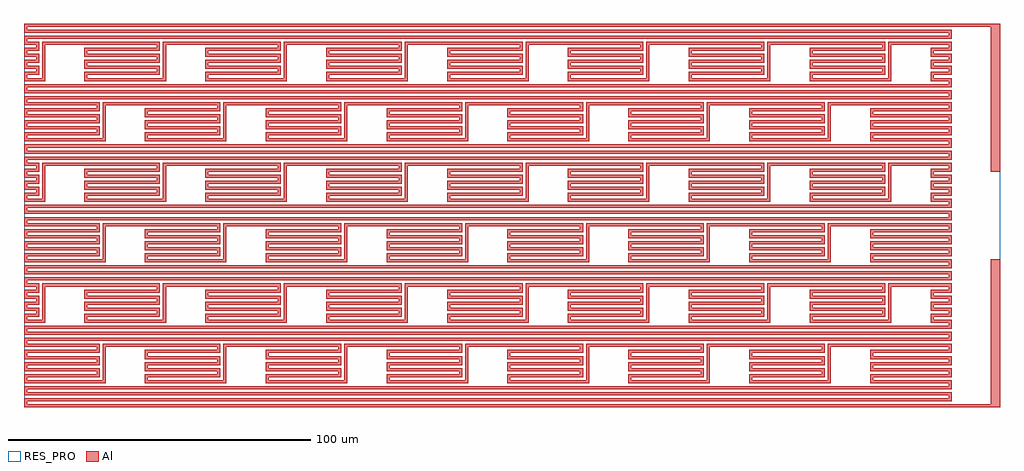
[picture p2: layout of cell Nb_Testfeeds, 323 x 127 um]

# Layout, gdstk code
import gdstk
lib = gdstk.Library(unit=1e-6, precision=1e-09)
def R(c, l, rs):  # rectangles x0, y0, x1, y1
    for r in rs: c.add(gdstk.rectangle(r[:2], r[2:], *l))
def P(c, l, *ps):  # polygons
    for p in ps: c.add(gdstk.Polygon(p, *l))
Al = (8, 0)
RES_PRO = (10, 0)

nb_testfeeds = lib.new_cell('Nb_Testfeeds')
R(nb_testfeeds, Al, [(43.518,-53.746,190.518,-52.746), (188.518,-53.746,206.518,-52.746), (203.518,-53.246,206.518,-4.746), (203.518,24.254,206.518,72.754), (23.518,72.254,190.518,73.254), (188.518,72.254,206.518,73.254)])
P(nb_testfeeds, Al, [(-115.482,-19.746),(-115.482,-20.746),(-111.482,-20.746),(-111.482,-23.746),(-115.482,-23.746),(-115.482,-24.746),(-110.482,-24.746),(-110.482,-19.746),(-109.482,-19.746),(-109.482,-25.746),(-116.482,-25.746),(-116.482,-22.746),(-112.482,-22.746),(-112.482,-21.746),(-116.482,-21.746),(-116.482,-19.746)],
  [(-95.482,-19.746),(-95.482,-20.746),(-71.482,-20.746),(-71.482,-23.746),(-95.482,-23.746),(-95.482,-24.746),(-70.482,-24.746),(-70.482,-19.746),(-69.482,-19.746),(-69.482,-25.746),(-96.482,-25.746),(-96.482,-22.746),(-72.482,-22.746),(-72.482,-21.746),(-96.482,-21.746),(-96.482,-19.746)],
  [(-55.482,-19.746),(-55.482,-20.746),(-31.482,-20.746),(-31.482,-23.746),(-55.482,-23.746),(-55.482,-24.746),(-30.482,-24.746),(-30.482,-19.746),(-29.482,-19.746),(-29.482,-25.746),(-56.482,-25.746),(-56.482,-22.746),(-32.482,-22.746),(-32.482,-21.746),(-56.482,-21.746),(-56.482,-19.746)],
  [(-15.482,-19.746),(-15.482,-20.746),(8.518,-20.746),(8.518,-23.746),(-15.482,-23.746),(-15.482,-24.746),(9.518,-24.746),(9.518,-19.746),(10.518,-19.746),(10.518,-25.746),(-16.482,-25.746),(-16.482,-22.746),(7.518,-22.746),(7.518,-21.746),(-16.482,-21.746),(-16.482,-19.746)],
  [(24.518,-19.746),(24.518,-20.746),(48.518,-20.746),(48.518,-23.746),(24.518,-23.746),(24.518,-24.746),(49.518,-24.746),(49.518,-19.746),(50.518,-19.746),(50.518,-25.746),(23.518,-25.746),(23.518,-22.746),(47.518,-22.746),(47.518,-21.746),(23.518,-21.746),(23.518,-19.746)],
  [(64.518,-19.746),(64.518,-20.746),(88.518,-20.746),(88.518,-23.746),(64.518,-23.746),(64.518,-24.746),(89.518,-24.746),(89.518,-19.746),(90.518,-19.746),(90.518,-25.746),(63.518,-25.746),(63.518,-22.746),(87.518,-22.746),(87.518,-21.746),(63.518,-21.746),(63.518,-19.746)],
  [(104.518,-19.746),(104.518,-20.746),(128.518,-20.746),(128.518,-23.746),(104.518,-23.746),(104.518,-24.746),(129.518,-24.746),(129.518,-19.746),(130.518,-19.746),(130.518,-25.746),(103.518,-25.746),(103.518,-22.746),(127.518,-22.746),(127.518,-21.746),(103.518,-21.746),(103.518,-19.746)],
  [(144.518,-19.746),(144.518,-20.746),(168.518,-20.746),(168.518,-23.746),(144.518,-23.746),(144.518,-24.746),(169.518,-24.746),(169.518,-19.746),(170.518,-19.746),(170.518,-25.746),(143.518,-25.746),(143.518,-22.746),(167.518,-22.746),(167.518,-21.746),(143.518,-21.746),(143.518,-19.746)],
  [(-110.482,-19.746),(-110.482,-12.746),(-71.482,-12.746),(-71.482,-15.746),(-95.482,-15.746),(-95.482,-16.746),(-71.482,-16.746),(-71.482,-19.746),(-96.482,-19.746),(-96.482,-18.746),(-72.482,-18.746),(-72.482,-17.746),(-96.482,-17.746),(-96.482,-14.746),(-72.482,-14.746),(-72.482,-13.746),(-109.482,-13.746),(-109.482,-19.746)],
  [(-70.482,-19.746),(-70.482,-12.746),(-31.482,-12.746),(-31.482,-15.746),(-55.482,-15.746),(-55.482,-16.746),(-31.482,-16.746),(-31.482,-19.746),(-56.482,-19.746),(-56.482,-18.746),(-32.482,-18.746),(-32.482,-17.746),(-56.482,-17.746),(-56.482,-14.746),(-32.482,-14.746),(-32.482,-13.746),(-69.482,-13.746),(-69.482,-19.746)],
  [(-30.482,-19.746),(-30.482,-12.746),(8.518,-12.746),(8.518,-15.746),(-15.482,-15.746),(-15.482,-16.746),(8.518,-16.746),(8.518,-19.746),(-16.482,-19.746),(-16.482,-18.746),(7.518,-18.746),(7.518,-17.746),(-16.482,-17.746),(-16.482,-14.746),(7.518,-14.746),(7.518,-13.746),(-29.482,-13.746),(-29.482,-19.746)],
  [(9.518,-19.746),(9.518,-12.746),(48.518,-12.746),(48.518,-15.746),(24.518,-15.746),(24.518,-16.746),(48.518,-16.746),(48.518,-19.746),(23.518,-19.746),(23.518,-18.746),(47.518,-18.746),(47.518,-17.746),(23.518,-17.746),(23.518,-14.746),(47.518,-14.746),(47.518,-13.746),(10.518,-13.746),(10.518,-19.746)],
  [(49.518,-19.746),(49.518,-12.746),(88.518,-12.746),(88.518,-15.746),(64.518,-15.746),(64.518,-16.746),(88.518,-16.746),(88.518,-19.746),(63.518,-19.746),(63.518,-18.746),(87.518,-18.746),(87.518,-17.746),(63.518,-17.746),(63.518,-14.746),(87.518,-14.746),(87.518,-13.746),(50.518,-13.746),(50.518,-19.746)],
  [(89.518,-19.746),(89.518,-12.746),(128.518,-12.746),(128.518,-15.746),(104.518,-15.746),(104.518,-16.746),(128.518,-16.746),(128.518,-19.746),(103.518,-19.746),(103.518,-18.746),(127.518,-18.746),(127.518,-17.746),(103.518,-17.746),(103.518,-14.746),(127.518,-14.746),(127.518,-13.746),(90.518,-13.746),(90.518,-19.746)],
  [(129.518,-19.746),(129.518,-12.746),(168.518,-12.746),(168.518,-15.746),(144.518,-15.746),(144.518,-16.746),(168.518,-16.746),(168.518,-19.746),(143.518,-19.746),(143.518,-18.746),(167.518,-18.746),(167.518,-17.746),(143.518,-17.746),(143.518,-14.746),(167.518,-14.746),(167.518,-13.746),(130.518,-13.746),(130.518,-19.746)],
  [(169.518,-19.746),(169.518,-12.746),(190.518,-12.746),(190.518,-15.746),(184.518,-15.746),(184.518,-16.746),(190.518,-16.746),(190.518,-19.746),(183.518,-19.746),(183.518,-18.746),(189.518,-18.746),(189.518,-17.746),(183.518,-17.746),(183.518,-14.746),(189.518,-14.746),(189.518,-13.746),(170.518,-13.746),(170.518,-19.746)],
  [(-91.482,41.254),(-91.482,40.254),(-115.482,40.254),(-115.482,39.254),(-91.482,39.254),(-91.482,36.254),(-115.482,36.254),(-115.482,35.254),(-90.482,35.254),(-90.482,41.254),(-89.482,41.254),(-89.482,34.254),(-116.482,34.254),(-116.482,37.254),(-92.482,37.254),(-92.482,38.254),(-116.482,38.254),(-116.482,41.254)],
  [(-51.482,41.254),(-51.482,40.254),(-75.482,40.254),(-75.482,39.254),(-51.482,39.254),(-51.482,36.254),(-75.482,36.254),(-75.482,35.254),(-50.482,35.254),(-50.482,41.254),(-49.482,41.254),(-49.482,34.254),(-76.482,34.254),(-76.482,37.254),(-52.482,37.254),(-52.482,38.254),(-76.482,38.254),(-76.482,41.254)],
  [(-11.482,41.254),(-11.482,40.254),(-35.482,40.254),(-35.482,39.254),(-11.482,39.254),(-11.482,36.254),(-35.482,36.254),(-35.482,35.254),(-10.482,35.254),(-10.482,41.254),(-9.482,41.254),(-9.482,34.254),(-36.482,34.254),(-36.482,37.254),(-12.482,37.254),(-12.482,38.254),(-36.482,38.254),(-36.482,41.254)],
  [(28.518,41.254),(28.518,40.254),(4.518,40.254),(4.518,39.254),(28.518,39.254),(28.518,36.254),(4.518,36.254),(4.518,35.254),(29.518,35.254),(29.518,41.254),(30.518,41.254),(30.518,34.254),(3.518,34.254),(3.518,37.254),(27.518,37.254),(27.518,38.254),(3.518,38.254),(3.518,41.254)],
  [(68.518,41.254),(68.518,40.254),(44.518,40.254),(44.518,39.254),(68.518,39.254),(68.518,36.254),(44.518,36.254),(44.518,35.254),(69.518,35.254),(69.518,41.254),(70.518,41.254),(70.518,34.254),(43.518,34.254),(43.518,37.254),(67.518,37.254),(67.518,38.254),(43.518,38.254),(43.518,41.254)],
  [(108.518,41.254),(108.518,40.254),(84.518,40.254),(84.518,39.254),(108.518,39.254),(108.518,36.254),(84.518,36.254),(84.518,35.254),(109.518,35.254),(109.518,41.254),(110.518,41.254),(110.518,34.254),(83.518,34.254),(83.518,37.254),(107.518,37.254),(107.518,38.254),(83.518,38.254),(83.518,41.254)],
  [(148.518,41.254),(148.518,40.254),(124.518,40.254),(124.518,39.254),(148.518,39.254),(148.518,36.254),(124.518,36.254),(124.518,35.254),(149.518,35.254),(149.518,41.254),(150.518,41.254),(150.518,34.254),(123.518,34.254),(123.518,37.254),(147.518,37.254),(147.518,38.254),(123.518,38.254),(123.518,41.254)],
  [(-90.482,41.254),(-90.482,47.254),(-51.482,47.254),(-51.482,44.254),(-75.482,44.254),(-75.482,43.254),(-51.482,43.254),(-51.482,41.254),(-52.482,41.254),(-52.482,42.254),(-76.482,42.254),(-76.482,45.254),(-52.482,45.254),(-52.482,46.254),(-89.482,46.254),(-89.482,41.254)],
  [(-50.482,41.254),(-50.482,47.254),(-11.482,47.254),(-11.482,44.254),(-35.482,44.254),(-35.482,43.254),(-11.482,43.254),(-11.482,41.254),(-12.482,41.254),(-12.482,42.254),(-36.482,42.254),(-36.482,45.254),(-12.482,45.254),(-12.482,46.254),(-49.482,46.254),(-49.482,41.254)],
  [(-10.482,41.254),(-10.482,47.254),(28.518,47.254),(28.518,44.254),(4.518,44.254),(4.518,43.254),(28.518,43.254),(28.518,41.254),(27.518,41.254),(27.518,42.254),(3.518,42.254),(3.518,45.254),(27.518,45.254),(27.518,46.254),(-9.482,46.254),(-9.482,41.254)],
  [(29.518,41.254),(29.518,47.254),(68.518,47.254),(68.518,44.254),(44.518,44.254),(44.518,43.254),(68.518,43.254),(68.518,41.254),(67.518,41.254),(67.518,42.254),(43.518,42.254),(43.518,45.254),(67.518,45.254),(67.518,46.254),(30.518,46.254),(30.518,41.254)],
  [(69.518,41.254),(69.518,47.254),(108.518,47.254),(108.518,44.254),(84.518,44.254),(84.518,43.254),(108.518,43.254),(108.518,41.254),(107.518,41.254),(107.518,42.254),(83.518,42.254),(83.518,45.254),(107.518,45.254),(107.518,46.254),(70.518,46.254),(70.518,41.254)],
  [(109.518,41.254),(109.518,47.254),(148.518,47.254),(148.518,44.254),(124.518,44.254),(124.518,43.254),(148.518,43.254),(148.518,41.254),(147.518,41.254),(147.518,42.254),(123.518,42.254),(123.518,45.254),(147.518,45.254),(147.518,46.254),(110.518,46.254),(110.518,41.254)],
  [(149.518,41.254),(149.518,47.254),(190.518,47.254),(190.518,44.254),(164.518,44.254),(164.518,43.254),(190.518,43.254),(190.518,41.254),(189.518,41.254),(189.518,42.254),(163.518,42.254),(163.518,45.254),(189.518,45.254),(189.518,46.254),(150.518,46.254),(150.518,41.254)],
  [(43.518,-53.746),(-116.482,-53.746),(-116.482,-50.746),(43.518,-50.746),(43.518,-51.746),(-115.482,-51.746),(-115.482,-52.746),(43.518,-52.746)],
  [(43.518,-49.746),(-116.482,-49.746),(-116.482,-46.746),(43.518,-46.746),(43.518,-47.746),(-115.482,-47.746),(-115.482,-48.746),(43.518,-48.746)],
  [(43.518,-33.746),(30.518,-33.746),(30.518,-45.746),(3.518,-45.746),(3.518,-42.746),(27.518,-42.746),(27.518,-41.746),(3.518,-41.746),(3.518,-38.746),(27.518,-38.746),(27.518,-37.746),(3.518,-37.746),(3.518,-34.746),(27.518,-34.746),(27.518,-33.746),(-9.482,-33.746),(-9.482,-45.746),(-36.482,-45.746),(-36.482,-42.746),(-12.482,-42.746),(-12.482,-41.746),(-36.482,-41.746),(-36.482,-38.746),(-12.482,-38.746),(-12.482,-37.746),(-36.482,-37.746),(-36.482,-34.746),(-12.482,-34.746),(-12.482,-33.746),(-49.482,-33.746),(-49.482,-45.746),(-76.482,-45.746),(-76.482,-42.746),(-52.482,-42.746),(-52.482,-41.746),(-76.482,-41.746),(-76.482,-38.746),(-52.482,-38.746),(-52.482,-37.746),(-76.482,-37.746),(-76.482,-34.746),(-52.482,-34.746),(-52.482,-33.746),(-89.482,-33.746),(-89.482,-45.746),(-116.482,-45.746),(-116.482,-42.746),(-92.482,-42.746),(-92.482,-41.746),(-116.482,-41.746),(-116.482,-38.746),(-92.482,-38.746),(-92.482,-37.746),(-116.482,-37.746),(-116.482,-34.746),(-92.482,-34.746),(-92.482,-33.746),(-116.482,-33.746),(-116.482,-30.746),(43.518,-30.746),(43.518,-31.746),(-115.482,-31.746),(-115.482,-32.746),(-91.482,-32.746),(-91.482,-35.746),(-115.482,-35.746),(-115.482,-36.746),(-91.482,-36.746),(-91.482,-39.746),(-115.482,-39.746),(-115.482,-40.746),(-91.482,-40.746),(-91.482,-43.746),(-115.482,-43.746),(-115.482,-44.746),(-90.482,-44.746),(-90.482,-32.746),(-51.482,-32.746),(-51.482,-35.746),(-75.482,-35.746),(-75.482,-36.746),(-51.482,-36.746),(-51.482,-39.746),(-75.482,-39.746),(-75.482,-40.746),(-51.482,-40.746),(-51.482,-43.746),(-75.482,-43.746),(-75.482,-44.746),(-50.482,-44.746),(-50.482,-32.746),(-11.482,-32.746),(-11.482,-35.746),(-35.482,-35.746),(-35.482,-36.746),(-11.482,-36.746),(-11.482,-39.746),(-35.482,-39.746),(-35.482,-40.746),(-11.482,-40.746),(-11.482,-43.746),(-35.482,-43.746),(-35.482,-44.746),(-10.482,-44.746),(-10.482,-32.746),(28.518,-32.746),(28.518,-35.746),(4.518,-35.746),(4.518,-36.746),(28.518,-36.746),(28.518,-39.746),(4.518,-39.746),(4.518,-40.746),(28.518,-40.746),(28.518,-43.746),(4.518,-43.746),(4.518,-44.746),(29.518,-44.746),(29.518,-32.746),(43.518,-32.746)],
  [(43.518,-29.746),(-116.482,-29.746),(-116.482,-26.746),(43.518,-26.746),(43.518,-27.746),(-115.482,-27.746),(-115.482,-28.746),(43.518,-28.746)],
  [(43.518,-50.746),(189.518,-50.746),(189.518,-49.746),(43.518,-49.746),(43.518,-48.746),(190.518,-48.746),(190.518,-51.746),(43.518,-51.746)],
  [(43.518,-46.746),(189.518,-46.746),(189.518,-45.746),(163.518,-45.746),(163.518,-42.746),(189.518,-42.746),(189.518,-41.746),(163.518,-41.746),(163.518,-38.746),(189.518,-38.746),(189.518,-37.746),(163.518,-37.746),(163.518,-34.746),(189.518,-34.746),(189.518,-33.746),(150.518,-33.746),(150.518,-45.746),(123.518,-45.746),(123.518,-42.746),(147.518,-42.746),(147.518,-41.746),(123.518,-41.746),(123.518,-38.746),(147.518,-38.746),(147.518,-37.746),(123.518,-37.746),(123.518,-34.746),(147.518,-34.746),(147.518,-33.746),(110.518,-33.746),(110.518,-45.746),(83.518,-45.746),(83.518,-42.746),(107.518,-42.746),(107.518,-41.746),(83.518,-41.746),(83.518,-38.746),(107.518,-38.746),(107.518,-37.746),(83.518,-37.746),(83.518,-34.746),(107.518,-34.746),(107.518,-33.746),(70.518,-33.746),(70.518,-45.746),(43.518,-45.746),(43.518,-42.746),(67.518,-42.746),(67.518,-41.746),(43.518,-41.746),(43.518,-38.746),(67.518,-38.746),(67.518,-37.746),(43.518,-37.746),(43.518,-34.746),(67.518,-34.746),(67.518,-33.746),(43.518,-33.746),(43.518,-32.746),(68.518,-32.746),(68.518,-35.746),(44.518,-35.746),(44.518,-36.746),(68.518,-36.746),(68.518,-39.746),(44.518,-39.746),(44.518,-40.746),(68.518,-40.746),(68.518,-43.746),(44.518,-43.746),(44.518,-44.746),(69.518,-44.746),(69.518,-32.746),(108.518,-32.746),(108.518,-35.746),(84.518,-35.746),(84.518,-36.746),(108.518,-36.746),(108.518,-39.746),(84.518,-39.746),(84.518,-40.746),(108.518,-40.746),(108.518,-43.746),(84.518,-43.746),(84.518,-44.746),(109.518,-44.746),(109.518,-32.746),(148.518,-32.746),(148.518,-35.746),(124.518,-35.746),(124.518,-36.746),(148.518,-36.746),(148.518,-39.746),(124.518,-39.746),(124.518,-40.746),(148.518,-40.746),(148.518,-43.746),(124.518,-43.746),(124.518,-44.746),(149.518,-44.746),(149.518,-32.746),(190.518,-32.746),(190.518,-35.746),(164.518,-35.746),(164.518,-36.746),(190.518,-36.746),(190.518,-39.746),(164.518,-39.746),(164.518,-40.746),(190.518,-40.746),(190.518,-43.746),(164.518,-43.746),(164.518,-44.746),(190.518,-44.746),(190.518,-47.746),(43.518,-47.746)],
  [(43.518,-30.746),(189.518,-30.746),(189.518,-29.746),(43.518,-29.746),(43.518,-28.746),(190.518,-28.746),(190.518,-31.746),(43.518,-31.746)],
  [(43.518,-26.746),(189.518,-26.746),(189.518,-25.746),(183.518,-25.746),(183.518,-22.746),(189.518,-22.746),(189.518,-21.746),(183.518,-21.746),(183.518,-19.746),(184.518,-19.746),(184.518,-20.746),(190.518,-20.746),(190.518,-23.746),(184.518,-23.746),(184.518,-24.746),(190.518,-24.746),(190.518,-27.746),(43.518,-27.746)],
  [(28.518,-11.746),(-115.482,-11.746),(-115.482,-12.746),(-111.482,-12.746),(-111.482,-15.746),(-115.482,-15.746),(-115.482,-16.746),(-111.482,-16.746),(-111.482,-19.746),(-116.482,-19.746),(-116.482,-18.746),(-112.482,-18.746),(-112.482,-17.746),(-116.482,-17.746),(-116.482,-14.746),(-112.482,-14.746),(-112.482,-13.746),(-116.482,-13.746),(-116.482,-10.746),(28.518,-10.746)],
  [(28.518,-9.746),(-116.482,-9.746),(-116.482,-6.746),(28.518,-6.746),(28.518,-7.746),(-115.482,-7.746),(-115.482,-8.746),(28.518,-8.746)],
  [(28.518,-5.746),(3.518,-5.746),(3.518,-2.746),(27.518,-2.746),(27.518,-1.746),(3.518,-1.746),(3.518,1.254),(27.518,1.254),(27.518,2.254),(3.518,2.254),(3.518,5.254),(27.518,5.254),(27.518,6.254),(-9.482,6.254),(-9.482,-5.746),(-36.482,-5.746),(-36.482,-2.746),(-12.482,-2.746),(-12.482,-1.746),(-36.482,-1.746),(-36.482,1.254),(-12.482,1.254),(-12.482,2.254),(-36.482,2.254),(-36.482,5.254),(-12.482,5.254),(-12.482,6.254),(-49.482,6.254),(-49.482,-5.746),(-76.482,-5.746),(-76.482,-2.746),(-52.482,-2.746),(-52.482,-1.746),(-76.482,-1.746),(-76.482,1.254),(-52.482,1.254),(-52.482,2.254),(-76.482,2.254),(-76.482,5.254),(-52.482,5.254),(-52.482,6.254),(-89.482,6.254),(-89.482,-5.746),(-116.482,-5.746),(-116.482,-2.746),(-92.482,-2.746),(-92.482,-1.746),(-116.482,-1.746),(-116.482,1.254),(-92.482,1.254),(-92.482,2.254),(-116.482,2.254),(-116.482,5.254),(-92.482,5.254),(-92.482,6.254),(-116.482,6.254),(-116.482,9.254),(28.518,9.254),(28.518,8.254),(-115.482,8.254),(-115.482,7.254),(-91.482,7.254),(-91.482,4.254),(-115.482,4.254),(-115.482,3.254),(-91.482,3.254),(-91.482,0.254),(-115.482,0.254),(-115.482,-0.746),(-91.482,-0.746),(-91.482,-3.746),(-115.482,-3.746),(-115.482,-4.746),(-90.482,-4.746),(-90.482,7.254),(-51.482,7.254),(-51.482,4.254),(-75.482,4.254),(-75.482,3.254),(-51.482,3.254),(-51.482,0.254),(-75.482,0.254),(-75.482,-0.746),(-51.482,-0.746),(-51.482,-3.746),(-75.482,-3.746),(-75.482,-4.746),(-50.482,-4.746),(-50.482,7.254),(-11.482,7.254),(-11.482,4.254),(-35.482,4.254),(-35.482,3.254),(-11.482,3.254),(-11.482,0.254),(-35.482,0.254),(-35.482,-0.746),(-11.482,-0.746),(-11.482,-3.746),(-35.482,-3.746),(-35.482,-4.746),(-10.482,-4.746),(-10.482,7.254),(28.518,7.254),(28.518,4.254),(4.518,4.254),(4.518,3.254),(28.518,3.254),(28.518,0.254),(4.518,0.254),(4.518,-0.746),(28.518,-0.746),(28.518,-3.746),(4.518,-3.746),(4.518,-4.746),(28.518,-4.746)],
  [(28.518,10.254),(-116.482,10.254),(-116.482,13.254),(28.518,13.254),(28.518,12.254),(-115.482,12.254),(-115.482,11.254),(28.518,11.254)],
  [(28.518,-10.746),(189.518,-10.746),(189.518,-9.746),(28.518,-9.746),(28.518,-8.746),(190.518,-8.746),(190.518,-11.746),(28.518,-11.746)],
  [(28.518,-6.746),(189.518,-6.746),(189.518,-5.746),(163.518,-5.746),(163.518,-2.746),(189.518,-2.746),(189.518,-1.746),(163.518,-1.746),(163.518,1.254),(189.518,1.254),(189.518,2.254),(163.518,2.254),(163.518,5.254),(189.518,5.254),(189.518,6.254),(150.518,6.254),(150.518,-5.746),(123.518,-5.746),(123.518,-2.746),(147.518,-2.746),(147.518,-1.746),(123.518,-1.746),(123.518,1.254),(147.518,1.254),(147.518,2.254),(123.518,2.254),(123.518,5.254),(147.518,5.254),(147.518,6.254),(110.518,6.254),(110.518,-5.746),(83.518,-5.746),(83.518,-2.746),(107.518,-2.746),(107.518,-1.746),(83.518,-1.746),(83.518,1.254),(107.518,1.254),(107.518,2.254),(83.518,2.254),(83.518,5.254),(107.518,5.254),(107.518,6.254),(70.518,6.254),(70.518,-5.746),(43.518,-5.746),(43.518,-2.746),(67.518,-2.746),(67.518,-1.746),(43.518,-1.746),(43.518,1.254),(67.518,1.254),(67.518,2.254),(43.518,2.254),(43.518,5.254),(67.518,5.254),(67.518,6.254),(30.518,6.254),(30.518,-5.746),(28.518,-5.746),(28.518,-4.746),(29.518,-4.746),(29.518,7.254),(68.518,7.254),(68.518,4.254),(44.518,4.254),(44.518,3.254),(68.518,3.254),(68.518,0.254),(44.518,0.254),(44.518,-0.746),(68.518,-0.746),(68.518,-3.746),(44.518,-3.746),(44.518,-4.746),(69.518,-4.746),(69.518,7.254),(108.518,7.254),(108.518,4.254),(84.518,4.254),(84.518,3.254),(108.518,3.254),(108.518,0.254),(84.518,0.254),(84.518,-0.746),(108.518,-0.746),(108.518,-3.746),(84.518,-3.746),(84.518,-4.746),(109.518,-4.746),(109.518,7.254),(148.518,7.254),(148.518,4.254),(124.518,4.254),(124.518,3.254),(148.518,3.254),(148.518,0.254),(124.518,0.254),(124.518,-0.746),(148.518,-0.746),(148.518,-3.746),(124.518,-3.746),(124.518,-4.746),(149.518,-4.746),(149.518,7.254),(190.518,7.254),(190.518,4.254),(164.518,4.254),(164.518,3.254),(190.518,3.254),(190.518,0.254),(164.518,0.254),(164.518,-0.746),(190.518,-0.746),(190.518,-3.746),(164.518,-3.746),(164.518,-4.746),(190.518,-4.746),(190.518,-7.746),(28.518,-7.746)],
  [(28.518,9.254),(189.518,9.254),(189.518,10.254),(28.518,10.254),(28.518,11.254),(190.518,11.254),(190.518,8.254),(28.518,8.254)],
  [(28.518,13.254),(189.518,13.254),(189.518,14.254),(190.518,14.254),(190.518,12.254),(28.518,12.254)],
  [(48.518,14.254),(23.518,14.254),(23.518,17.254),(47.518,17.254),(47.518,18.254),(23.518,18.254),(23.518,21.254),(47.518,21.254),(47.518,22.254),(23.518,22.254),(23.518,25.254),(47.518,25.254),(47.518,26.254),(10.518,26.254),(10.518,14.254),(-16.482,14.254),(-16.482,17.254),(7.518,17.254),(7.518,18.254),(-16.482,18.254),(-16.482,21.254),(7.518,21.254),(7.518,22.254),(-16.482,22.254),(-16.482,25.254),(7.518,25.254),(7.518,26.254),(-29.482,26.254),(-29.482,14.254),(-56.482,14.254),(-56.482,17.254),(-32.482,17.254),(-32.482,18.254),(-56.482,18.254),(-56.482,21.254),(-32.482,21.254),(-32.482,22.254),(-56.482,22.254),(-56.482,25.254),(-32.482,25.254),(-32.482,26.254),(-69.482,26.254),(-69.482,14.254),(-96.482,14.254),(-96.482,17.254),(-72.482,17.254),(-72.482,18.254),(-96.482,18.254),(-96.482,21.254),(-72.482,21.254),(-72.482,22.254),(-96.482,22.254),(-96.482,25.254),(-72.482,25.254),(-72.482,26.254),(-109.482,26.254),(-109.482,14.254),(-116.482,14.254),(-116.482,17.254),(-112.482,17.254),(-112.482,18.254),(-116.482,18.254),(-116.482,21.254),(-112.482,21.254),(-112.482,22.254),(-116.482,22.254),(-116.482,25.254),(-112.482,25.254),(-112.482,26.254),(-116.482,26.254),(-116.482,29.254),(48.518,29.254),(48.518,28.254),(-115.482,28.254),(-115.482,27.254),(-111.482,27.254),(-111.482,24.254),(-115.482,24.254),(-115.482,23.254),(-111.482,23.254),(-111.482,20.254),(-115.482,20.254),(-115.482,19.254),(-111.482,19.254),(-111.482,16.254),(-115.482,16.254),(-115.482,15.254),(-110.482,15.254),(-110.482,27.254),(-71.482,27.254),(-71.482,24.254),(-95.482,24.254),(-95.482,23.254),(-71.482,23.254),(-71.482,20.254),(-95.482,20.254),(-95.482,19.254),(-71.482,19.254),(-71.482,16.254),(-95.482,16.254),(-95.482,15.254),(-70.482,15.254),(-70.482,27.254),(-31.482,27.254),(-31.482,24.254),(-55.482,24.254),(-55.482,23.254),(-31.482,23.254),(-31.482,20.254),(-55.482,20.254),(-55.482,19.254),(-31.482,19.254),(-31.482,16.254),(-55.482,16.254),(-55.482,15.254),(-30.482,15.254),(-30.482,27.254),(8.518,27.254),(8.518,24.254),(-15.482,24.254),(-15.482,23.254),(8.518,23.254),(8.518,20.254),(-15.482,20.254),(-15.482,19.254),(8.518,19.254),(8.518,16.254),(-15.482,16.254),(-15.482,15.254),(9.518,15.254),(9.518,27.254),(48.518,27.254),(48.518,24.254),(24.518,24.254),(24.518,23.254),(48.518,23.254),(48.518,20.254),(24.518,20.254),(24.518,19.254),(48.518,19.254),(48.518,16.254),(24.518,16.254),(24.518,15.254),(48.518,15.254)],
  [(48.518,30.254),(-116.482,30.254),(-116.482,33.254),(48.518,33.254),(48.518,32.254),(-115.482,32.254),(-115.482,31.254),(48.518,31.254)],
  [(48.518,15.254),(49.518,15.254),(49.518,27.254),(88.518,27.254),(88.518,24.254),(64.518,24.254),(64.518,23.254),(88.518,23.254),(88.518,20.254),(64.518,20.254),(64.518,19.254),(88.518,19.254),(88.518,16.254),(64.518,16.254),(64.518,15.254),(89.518,15.254),(89.518,27.254),(128.518,27.254),(128.518,24.254),(104.518,24.254),(104.518,23.254),(128.518,23.254),(128.518,20.254),(104.518,20.254),(104.518,19.254),(128.518,19.254),(128.518,16.254),(104.518,16.254),(104.518,15.254),(129.518,15.254),(129.518,27.254),(168.518,27.254),(168.518,24.254),(144.518,24.254),(144.518,23.254),(168.518,23.254),(168.518,20.254),(144.518,20.254),(144.518,19.254),(168.518,19.254),(168.518,16.254),(144.518,16.254),(144.518,15.254),(169.518,15.254),(169.518,27.254),(190.518,27.254),(190.518,24.254),(184.518,24.254),(184.518,23.254),(190.518,23.254),(190.518,20.254),(184.518,20.254),(184.518,19.254),(190.518,19.254),(190.518,16.254),(184.518,16.254),(184.518,15.254),(190.518,15.254),(190.518,14.254),(183.518,14.254),(183.518,17.254),(189.518,17.254),(189.518,18.254),(183.518,18.254),(183.518,21.254),(189.518,21.254),(189.518,22.254),(183.518,22.254),(183.518,25.254),(189.518,25.254),(189.518,26.254),(170.518,26.254),(170.518,14.254),(143.518,14.254),(143.518,17.254),(167.518,17.254),(167.518,18.254),(143.518,18.254),(143.518,21.254),(167.518,21.254),(167.518,22.254),(143.518,22.254),(143.518,25.254),(167.518,25.254),(167.518,26.254),(130.518,26.254),(130.518,14.254),(103.518,14.254),(103.518,17.254),(127.518,17.254),(127.518,18.254),(103.518,18.254),(103.518,21.254),(127.518,21.254),(127.518,22.254),(103.518,22.254),(103.518,25.254),(127.518,25.254),(127.518,26.254),(90.518,26.254),(90.518,14.254),(63.518,14.254),(63.518,17.254),(87.518,17.254),(87.518,18.254),(63.518,18.254),(63.518,21.254),(87.518,21.254),(87.518,22.254),(63.518,22.254),(63.518,25.254),(87.518,25.254),(87.518,26.254),(50.518,26.254),(50.518,14.254),(48.518,14.254)],
  [(48.518,29.254),(189.518,29.254),(189.518,30.254),(48.518,30.254),(48.518,31.254),(190.518,31.254),(190.518,28.254),(48.518,28.254)],
  [(48.518,33.254),(189.518,33.254),(189.518,34.254),(163.518,34.254),(163.518,37.254),(189.518,37.254),(189.518,38.254),(163.518,38.254),(163.518,41.254),(190.518,41.254),(190.518,40.254),(164.518,40.254),(164.518,39.254),(190.518,39.254),(190.518,36.254),(164.518,36.254),(164.518,35.254),(190.518,35.254),(190.518,32.254),(48.518,32.254)],
  [(23.518,48.254),(-115.482,48.254),(-115.482,47.254),(-91.482,47.254),(-91.482,44.254),(-115.482,44.254),(-115.482,43.254),(-91.482,43.254),(-91.482,41.254),(-92.482,41.254),(-92.482,42.254),(-116.482,42.254),(-116.482,45.254),(-92.482,45.254),(-92.482,46.254),(-116.482,46.254),(-116.482,49.254),(23.518,49.254)],
  [(23.518,50.254),(-116.482,50.254),(-116.482,53.254),(23.518,53.254),(23.518,52.254),(-115.482,52.254),(-115.482,51.254),(23.518,51.254)],
  [(23.518,66.254),(10.518,66.254),(10.518,54.254),(-16.482,54.254),(-16.482,57.254),(7.518,57.254),(7.518,58.254),(-16.482,58.254),(-16.482,61.254),(7.518,61.254),(7.518,62.254),(-16.482,62.254),(-16.482,65.254),(7.518,65.254),(7.518,66.254),(-29.482,66.254),(-29.482,54.254),(-56.482,54.254),(-56.482,57.254),(-32.482,57.254),(-32.482,58.254),(-56.482,58.254),(-56.482,61.254),(-32.482,61.254),(-32.482,62.254),(-56.482,62.254),(-56.482,65.254),(-32.482,65.254),(-32.482,66.254),(-69.482,66.254),(-69.482,54.254),(-96.482,54.254),(-96.482,57.254),(-72.482,57.254),(-72.482,58.254),(-96.482,58.254),(-96.482,61.254),(-72.482,61.254),(-72.482,62.254),(-96.482,62.254),(-96.482,65.254),(-72.482,65.254),(-72.482,66.254),(-109.482,66.254),(-109.482,54.254),(-116.482,54.254),(-116.482,57.254),(-112.482,57.254),(-112.482,58.254),(-116.482,58.254),(-116.482,61.254),(-112.482,61.254),(-112.482,62.254),(-116.482,62.254),(-116.482,65.254),(-112.482,65.254),(-112.482,66.254),(-116.482,66.254),(-116.482,69.254),(23.518,69.254),(23.518,68.254),(-115.482,68.254),(-115.482,67.254),(-111.482,67.254),(-111.482,64.254),(-115.482,64.254),(-115.482,63.254),(-111.482,63.254),(-111.482,60.254),(-115.482,60.254),(-115.482,59.254),(-111.482,59.254),(-111.482,56.254),(-115.482,56.254),(-115.482,55.254),(-110.482,55.254),(-110.482,67.254),(-71.482,67.254),(-71.482,64.254),(-95.482,64.254),(-95.482,63.254),(-71.482,63.254),(-71.482,60.254),(-95.482,60.254),(-95.482,59.254),(-71.482,59.254),(-71.482,56.254),(-95.482,56.254),(-95.482,55.254),(-70.482,55.254),(-70.482,67.254),(-31.482,67.254),(-31.482,64.254),(-55.482,64.254),(-55.482,63.254),(-31.482,63.254),(-31.482,60.254),(-55.482,60.254),(-55.482,59.254),(-31.482,59.254),(-31.482,56.254),(-55.482,56.254),(-55.482,55.254),(-30.482,55.254),(-30.482,67.254),(8.518,67.254),(8.518,64.254),(-15.482,64.254),(-15.482,63.254),(8.518,63.254),(8.518,60.254),(-15.482,60.254),(-15.482,59.254),(8.518,59.254),(8.518,56.254),(-15.482,56.254),(-15.482,55.254),(9.518,55.254),(9.518,67.254),(23.518,67.254)],
  [(23.518,70.254),(-116.482,70.254),(-116.482,73.254),(23.518,73.254),(23.518,72.254),(-115.482,72.254),(-115.482,71.254),(23.518,71.254)],
  [(23.518,49.254),(189.518,49.254),(189.518,50.254),(23.518,50.254),(23.518,51.254),(190.518,51.254),(190.518,48.254),(23.518,48.254)],
  [(23.518,53.254),(189.518,53.254),(189.518,54.254),(183.518,54.254),(183.518,57.254),(189.518,57.254),(189.518,58.254),(183.518,58.254),(183.518,61.254),(189.518,61.254),(189.518,62.254),(183.518,62.254),(183.518,65.254),(189.518,65.254),(189.518,66.254),(170.518,66.254),(170.518,54.254),(143.518,54.254),(143.518,57.254),(167.518,57.254),(167.518,58.254),(143.518,58.254),(143.518,61.254),(167.518,61.254),(167.518,62.254),(143.518,62.254),(143.518,65.254),(167.518,65.254),(167.518,66.254),(130.518,66.254),(130.518,54.254),(103.518,54.254),(103.518,57.254),(127.518,57.254),(127.518,58.254),(103.518,58.254),(103.518,61.254),(127.518,61.254),(127.518,62.254),(103.518,62.254),(103.518,65.254),(127.518,65.254),(127.518,66.254),(90.518,66.254),(90.518,54.254),(63.518,54.254),(63.518,57.254),(87.518,57.254),(87.518,58.254),(63.518,58.254),(63.518,61.254),(87.518,61.254),(87.518,62.254),(63.518,62.254),(63.518,65.254),(87.518,65.254),(87.518,66.254),(50.518,66.254),(50.518,54.254),(23.518,54.254),(23.518,57.254),(47.518,57.254),(47.518,58.254),(23.518,58.254),(23.518,61.254),(47.518,61.254),(47.518,62.254),(23.518,62.254),(23.518,65.254),(47.518,65.254),(47.518,66.254),(23.518,66.254),(23.518,67.254),(48.518,67.254),(48.518,64.254),(24.518,64.254),(24.518,63.254),(48.518,63.254),(48.518,60.254),(24.518,60.254),(24.518,59.254),(48.518,59.254),(48.518,56.254),(24.518,56.254),(24.518,55.254),(49.518,55.254),(49.518,67.254),(88.518,67.254),(88.518,64.254),(64.518,64.254),(64.518,63.254),(88.518,63.254),(88.518,60.254),(64.518,60.254),(64.518,59.254),(88.518,59.254),(88.518,56.254),(64.518,56.254),(64.518,55.254),(89.518,55.254),(89.518,67.254),(128.518,67.254),(128.518,64.254),(104.518,64.254),(104.518,63.254),(128.518,63.254),(128.518,60.254),(104.518,60.254),(104.518,59.254),(128.518,59.254),(128.518,56.254),(104.518,56.254),(104.518,55.254),(129.518,55.254),(129.518,67.254),(168.518,67.254),(168.518,64.254),(144.518,64.254),(144.518,63.254),(168.518,63.254),(168.518,60.254),(144.518,60.254),(144.518,59.254),(168.518,59.254),(168.518,56.254),(144.518,56.254),(144.518,55.254),(169.518,55.254),(169.518,67.254),(190.518,67.254),(190.518,64.254),(184.518,64.254),(184.518,63.254),(190.518,63.254),(190.518,60.254),(184.518,60.254),(184.518,59.254),(190.518,59.254),(190.518,56.254),(184.518,56.254),(184.518,55.254),(190.518,55.254),(190.518,52.254),(23.518,52.254)],
  [(23.518,69.254),(189.518,69.254),(189.518,70.254),(23.518,70.254),(23.518,71.254),(190.518,71.254),(190.518,68.254),(23.518,68.254)])
R(nb_testfeeds, RES_PRO, [(-116.482,-53.746,206.518,73.254)])

lib.write_gds('Nb_Testfeeds.gds')
